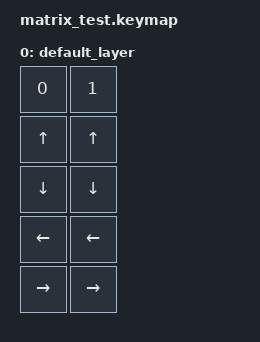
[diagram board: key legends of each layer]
/*
 * Copyright (c) 2026 amgskobo
 * SPDX-License-Identifier: MIT
 */

#include <behaviors.dtsi>
#include <dt-bindings/zmk/keys.h>

/ {
    keymap {
        compatible = "zmk,keymap";

        default_layer {
            bindings = <
                &kp N0 &kp N1
                &kp UP &kp UP
                &kp DOWN &kp DOWN
                &kp LEFT &kp LEFT
                &kp RIGHT &kp RIGHT
            >;
        };
    };
};
